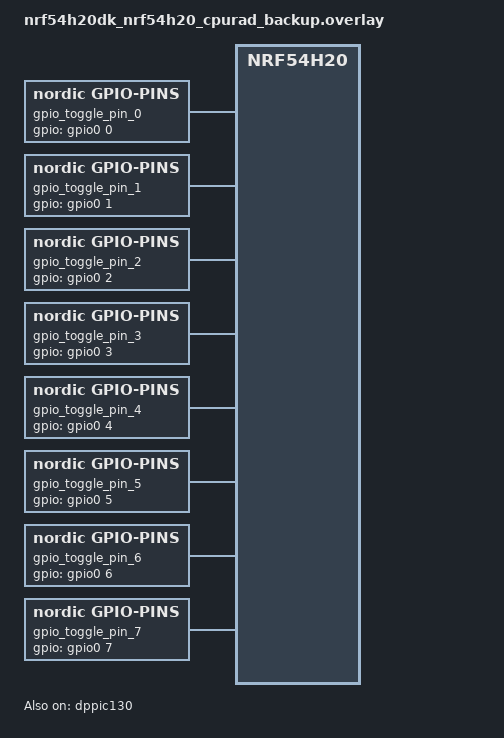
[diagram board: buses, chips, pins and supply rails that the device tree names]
/* Use dummy GPIO pins entries to allocate the pins to Radio domain.
 *
 * Note: this allocation has to mach to DBPX_PIN macros.
 */
 / {
	gpio_toggle_pin_0: gpio-toggle-pin-0 {
		compatible = "nordic,gpio-pins";
		gpios = <&gpio0 0 GPIO_ACTIVE_HIGH>;
		status = "okay";
	};

	gpio_toggle_pin_1: gpio-toggle-pin-1 {
		compatible = "nordic,gpio-pins";
		gpios = <&gpio0 1 GPIO_ACTIVE_HIGH>;
		status = "okay";
	};

	gpio_toggle_pin_2: gpio-toggle-pin-2 {
		compatible = "nordic,gpio-pins";
		gpios = <&gpio0 2 GPIO_ACTIVE_HIGH>;
		status = "okay";
	};

	gpio_toggle_pin_3: gpio-toggle-pin-3 {
		compatible = "nordic,gpio-pins";
		gpios = <&gpio0 3 GPIO_ACTIVE_HIGH>;
		status = "okay";
	};

	gpio_toggle_pin_4: gpio-toggle-pin-4 {
		compatible = "nordic,gpio-pins";
		gpios = <&gpio0 4 GPIO_ACTIVE_HIGH>;
		status = "okay";
	};

	gpio_toggle_pin_5: gpio-toggle-pin-5 {
		compatible = "nordic,gpio-pins";
		gpios = <&gpio0 5 GPIO_ACTIVE_HIGH>;
		status = "okay";
	};

	gpio_toggle_pin_6: gpio-toggle-pin-6 {
		compatible = "nordic,gpio-pins";
		gpios = <&gpio0 6 GPIO_ACTIVE_HIGH>;
		status = "okay";
	};

	gpio_toggle_pin_7: gpio-toggle-pin-7 {
		compatible = "nordic,gpio-pins";
		gpios = <&gpio0 7 GPIO_ACTIVE_HIGH>;
		status = "okay";
	};

	// gpio_toggle_pin_8: gpio-toggle-pin-8 {
	// 	compatible = "nordic,gpio-pins";
	// 	gpios = <&gpio1 1 GPIO_ACTIVE_HIGH>;
	// 	status = "okay";
	// };

	// gpio_toggle_pin_9: gpio-toggle-pin-9 {
	// 	compatible = "nordic,gpio-pins";
	// 	gpios = <&gpio1 2 GPIO_ACTIVE_HIGH>;
	// 	status = "okay";
	// };

	// gpio_toggle_pin_10: gpio-toggle-pin-10 {
	// 	compatible = "nordic,gpio-pins";
	// 	gpios = <&gpio1 3 GPIO_ACTIVE_HIGH>;
	// 	status = "okay";
	// };

	// gpio_toggle_pin_11: gpio-toggle-pin-11 {
	// 	compatible = "nordic,gpio-pins";
	// 	gpios = <&gpio1 7 GPIO_ACTIVE_HIGH>;
	// 	status = "okay";
	// };

	// gpio_toggle_pin_12: gpio-toggle-pin-12 {
	// 	compatible = "nordic,gpio-pins";
	// 	gpios = <&gpio1 8 GPIO_ACTIVE_HIGH>;
	// 	status = "okay";
	// };

	// gpio_toggle_pin_13: gpio-toggle-pin-13 {
	// 	compatible = "nordic,gpio-pins";
	// 	gpios = <&gpio1 9 GPIO_ACTIVE_HIGH>;
	// 	status = "okay";
	// };

	// gpio_toggle_pin_14: gpio-toggle-pin-14 {
	// 	compatible = "nordic,gpio-pins";
	// 	gpios = <&gpio1 10 GPIO_ACTIVE_HIGH>;
	// 	status = "okay";
	// };

	// gpio_toggle_pin_15: gpio-toggle-pin-15 {
	// 	compatible = "nordic,gpio-pins";
	// 	gpios = <&gpio1 11 GPIO_ACTIVE_HIGH>;
	// 	status = "okay";
	// };
};

&dppic130 {
	owned-channels = <0 1 2 3>;
	owned-channel-groups = <0 1>;
	status = "okay";
};

/* IPCT130 in Global domain and IPCT in Radio domain are used to create IPCTMAP entry.
 * That means channels: source and sink create pairs that are applied by Secure Domain FW on boot.
 * These entries has to be provided to pin_transport_debug by calls: debug_allow_ipct_channel
 * and debug_allow_global_channel.
 *
 * Note: Channel 0 in IPCT in Radio domai is used by GRTC to deliver the GRTC events to Radio
 *       domain. It is setup as sink-channel-link in common NCS DTS file.
 */
&cpurad_ipct {
	source-channel-links = <1 13 1
				2 13 2
				3 13 3>;
};

/* Note: IPCT130 in Global domain channel 0 is used by GRTC to deliver the GRTC events to Radio
 *       domain. It is setup as source-channel-link in common NCS DTS file.
 */
&ipct130 {
	status = "okay";
	owned-channels = <0 1 2 3>;
	sink-channel-links = <1 3 1
			      2 3 2
			      3 3 3>;
};

/* Example of GPIOTE channels allocation for Radio core.
 *
 * Note: By default all GPIOTE130 channels are allocated to APP Core.
 *       To use some of them in Radio domain you have to change the allocation
 *       in APP core DTS file.
 */
&gpiote130 {
	status = "okay";
	owned-channels = <0 1 2 3>;
};

&uart135 {
	status = "disabled";
};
